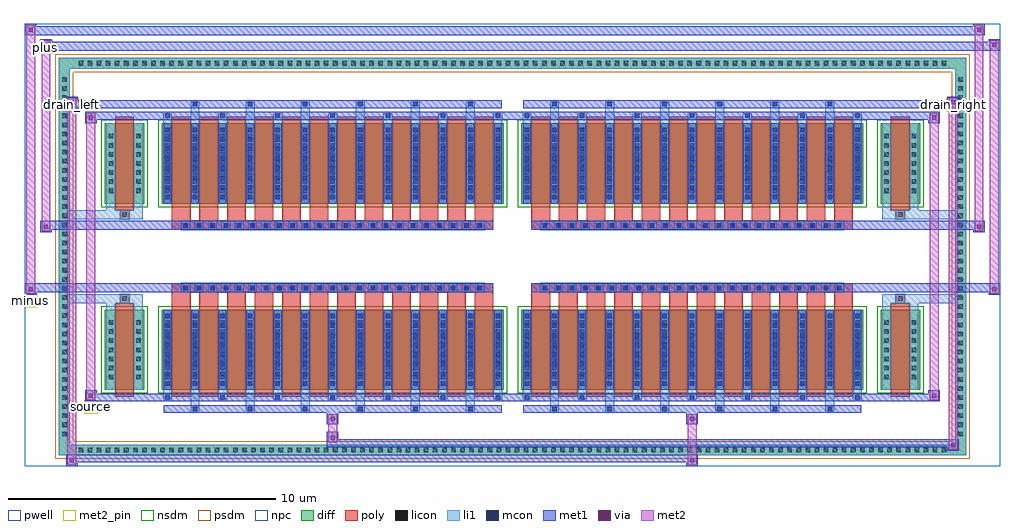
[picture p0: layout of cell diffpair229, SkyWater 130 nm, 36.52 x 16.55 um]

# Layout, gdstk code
import gdstk
lib = gdstk.Library(unit=1e-6, precision=5e-09)
def R(c, l, rs):  # rectangles x0, y0, x1, y1
    for r in rs: c.add(gdstk.rectangle(r[:2], r[2:], *l))
def A(c, l, x, y, w, h, nx, ny, dx, dy):  # array of equal rectangles
    R(c, l, [(x+i*dx, y+j*dy, x+i*dx+w, y+j*dy+h) for i in range(nx) for j in range(ny)])
def P(c, l, *ps):  # polygons
    for p in ps: c.add(gdstk.Polygon(p, *l))
pwell = (64, 44)
diff = (65, 20)
poly = (66, 20)
licon = (66, 44)
li1 = (67, 20)
mcon = (67, 44)
met1 = (68, 20)
via = (68, 44)
met2_pin = (69, 16)
met2 = (69, 20)
nsdm = (93, 44)
psdm = (94, 20)
npc = (95, 20)

diffpair229 = lib.new_cell('diffpair229')
R(diffpair229, pwell, [(-18.24,-7.84,18.24,8.71), (-15.56,-6.03,-0.01,-0.805), (0.01,-6.03,15.56,-0.805), (-15.56,0.805,-0.01,6.03), (0.01,0.805,15.56,6.03)])
A(diffpair229, diff, -16.355, -7.44, 0.41, 0.41, 96, 2, 0.34, 14.47)
A(diffpair229, diff, -16.97, -6.835, 0.41, 0.41, 1, 40, 0, 0.34)
A(diffpair229, diff, 16.56, -6.835, 0.41, 0.41, 1, 40, 0, 0.34)
R(diffpair229, diff, [(-16.355,-7.44,16.355,-7.03), (-16.97,-6.835,-16.56,6.835), (16.56,-6.835,16.97,6.835), (-15.25,-4.985,-13.77,-1.985), (-13.13,-4.985,-0.32,-1.985), (0.32,-4.985,13.13,-1.985), (13.77,-4.985,15.25,-1.985), (-15.25,1.985,-13.77,4.985), (-13.13,1.985,-0.32,4.985), (0.32,1.985,13.13,4.985), (13.77,1.985,15.25,4.985), (-16.355,7.03,16.355,7.44)])
P(diffpair229, diff, [(16.97,7.44),(-16.97,7.44),(-16.97,-7.03),(-16.56,-7.03),(-16.56,7.03),(16.56,7.03),(16.56,-7.03),(-16.56,-7.03),(-16.97,-7.03),(-16.97,-7.44),(16.97,-7.44)])
A(diffpair229, poly, -12.74, -5.235, 0.7, 3.5, 12, 2, 1.03, 6.97)
A(diffpair229, poly, 0.71, -5.235, 0.7, 3.5, 12, 2, 1.03, 6.97)
A(diffpair229, poly, -12.74, -1.735, 0.7, 0.4, 12, 2, 1.03, 3.07)
A(diffpair229, poly, 0.71, -1.735, 0.7, 0.4, 12, 2, 1.03, 3.07)
A(diffpair229, poly, -12.39, -1.335, 0.33, 0.33, 23, 2, 0.5, 2.34)
A(diffpair229, poly, 1.06, -1.335, 0.33, 0.33, 23, 2, 0.5, 2.34)
R(diffpair229, poly, [(-14.86,-5.235,-14.16,-1.735), (14.16,-5.235,14.86,-1.735), (-14.675,-1.735,-14.345,-1.405), (-14.675,-1.735,-14.345,-1.405), (14.345,-1.735,14.675,-1.405), (14.345,-1.735,14.675,-1.405), (-12.74,-1.335,-0.71,-1.005), (0.71,-1.335,12.74,-1.005), (-12.74,1.005,-0.71,1.335), (0.71,1.005,12.74,1.335), (-14.675,1.405,-14.345,1.735), (-14.675,1.405,-14.345,1.735), (14.345,1.405,14.675,1.735), (14.345,1.405,14.675,1.735), (-14.86,1.735,-14.16,5.235), (14.16,1.735,14.86,5.235)])
A(diffpair229, licon, -16.235, -7.32, 0.17, 0.17, 96, 2, 0.34, 14.47)
A(diffpair229, licon, -16.85, -6.715, 0.17, 0.17, 1, 40, 0, 0.34)
A(diffpair229, licon, 16.68, -6.715, 0.17, 0.17, 1, 40, 0, 0.34)
A(diffpair229, licon, -15.11, -4.59, 0.17, 0.17, 1, 7, 0, 0.34)
A(diffpair229, licon, -14.08, -4.59, 0.17, 0.17, 1, 7, 0, 0.34)
A(diffpair229, licon, -12.99, -4.59, 0.17, 0.17, 13, 7, 1.03, 0.34)
A(diffpair229, licon, 0.46, -4.59, 0.17, 0.17, 13, 7, 1.03, 0.34)
A(diffpair229, licon, 13.91, -4.59, 0.17, 0.17, 1, 7, 0, 0.34)
A(diffpair229, licon, 14.94, -4.59, 0.17, 0.17, 1, 7, 0, 0.34)
A(diffpair229, licon, -12.31, -1.255, 0.17, 0.17, 23, 2, 0.5, 2.34)
A(diffpair229, licon, 1.14, -1.255, 0.17, 0.17, 23, 2, 0.5, 2.34)
A(diffpair229, licon, -15.11, 2.38, 0.17, 0.17, 1, 7, 0, 0.34)
A(diffpair229, licon, -14.08, 2.38, 0.17, 0.17, 1, 7, 0, 0.34)
A(diffpair229, licon, -12.99, 2.38, 0.17, 0.17, 13, 7, 1.03, 0.34)
A(diffpair229, licon, 0.46, 2.38, 0.17, 0.17, 13, 7, 1.03, 0.34)
A(diffpair229, licon, 13.91, 2.38, 0.17, 0.17, 1, 7, 0, 0.34)
A(diffpair229, licon, 14.94, 2.38, 0.17, 0.17, 1, 7, 0, 0.34)
R(diffpair229, licon, [(-14.595,-1.655,-14.425,-1.485), (14.425,-1.655,14.595,-1.485), (-14.595,1.485,-14.425,1.655), (14.425,1.485,14.595,1.655)])
A(diffpair229, li1, -16.315, -7.4, 0.33, 0.33, 96, 2, 0.34, 14.47)
A(diffpair229, li1, -16.93, -6.795, 0.33, 0.33, 1, 40, 0, 0.34)
A(diffpair229, li1, 16.6, -6.795, 0.33, 0.33, 1, 40, 0, 0.34)
A(diffpair229, li1, -12.04, -5.79, 0.33, 0.805, 6, 2, 2.06, 10.775)
A(diffpair229, li1, -11.96, -5.79, 0.17, 0.17, 6, 2, 2.06, 11.41)
A(diffpair229, li1, 1.41, -5.79, 0.33, 0.805, 6, 2, 2.06, 10.775)
A(diffpair229, li1, 1.49, -5.79, 0.17, 0.17, 6, 2, 2.06, 11.41)
A(diffpair229, li1, -13.07, -5.36, 0.33, 0.375, 7, 2, 2.06, 10.345)
A(diffpair229, li1, -12.99, -5.36, 0.17, 0.17, 7, 2, 2.06, 10.55)
A(diffpair229, li1, 0.38, -5.36, 0.33, 0.375, 7, 2, 2.06, 10.345)
A(diffpair229, li1, 0.46, -5.36, 0.17, 0.17, 7, 2, 2.06, 10.55)
A(diffpair229, li1, -13.07, -4.985, 0.33, 3, 13, 2, 1.03, 6.97)
A(diffpair229, li1, 0.38, -4.985, 0.33, 3, 13, 2, 1.03, 6.97)
A(diffpair229, li1, -12.99, -4.83, 0.17, 0.17, 13, 8, 1.03, 0.36)
A(diffpair229, li1, -12.99, -4.83, 0.17, 2.69, 13, 2, 1.03, 6.97)
A(diffpair229, li1, 0.46, -4.83, 0.17, 0.17, 13, 8, 1.03, 0.36)
A(diffpair229, li1, 0.46, -4.83, 0.17, 2.69, 13, 2, 1.03, 6.97)
A(diffpair229, li1, -15.19, -4.67, 0.33, 0.33, 1, 7, 0, 0.34)
A(diffpair229, li1, -14.16, -4.67, 0.33, 0.33, 1, 7, 0, 0.34)
A(diffpair229, li1, -13.07, -4.67, 0.33, 0.33, 13, 7, 1.03, 0.34)
A(diffpair229, li1, 0.38, -4.67, 0.33, 0.33, 13, 7, 1.03, 0.34)
A(diffpair229, li1, 13.83, -4.67, 0.33, 0.33, 1, 7, 0, 0.34)
A(diffpair229, li1, 14.86, -4.67, 0.33, 0.33, 1, 7, 0, 0.34)
A(diffpair229, li1, -12.39, -1.335, 0.33, 0.33, 23, 2, 0.5, 2.34)
A(diffpair229, li1, 1.06, -1.335, 0.33, 0.33, 23, 2, 0.5, 2.34)
A(diffpair229, li1, -12.99, 2.14, 0.17, 0.17, 13, 8, 1.03, 0.36)
A(diffpair229, li1, 0.46, 2.14, 0.17, 0.17, 13, 8, 1.03, 0.36)
A(diffpair229, li1, -15.19, 2.3, 0.33, 0.33, 1, 7, 0, 0.34)
A(diffpair229, li1, -14.16, 2.3, 0.33, 0.33, 1, 7, 0, 0.34)
A(diffpair229, li1, -13.07, 2.3, 0.33, 0.33, 13, 7, 1.03, 0.34)
A(diffpair229, li1, 0.38, 2.3, 0.33, 0.33, 13, 7, 1.03, 0.34)
A(diffpair229, li1, 13.83, 2.3, 0.33, 0.33, 1, 7, 0, 0.34)
A(diffpair229, li1, 14.86, 2.3, 0.33, 0.33, 1, 7, 0, 0.34)
R(diffpair229, li1, [(-16.97,-7.44,-16.56,-7.03), (-16.97,-7.44,-16.56,-7.03), (-16.56,-7.44,16.56,-7.03), (16.56,-7.44,16.97,-7.03), (16.56,-7.44,16.97,-7.03), (-16.97,-7.03,-16.56,7.03), (16.56,-7.03,16.97,7.03), (-15.19,-4.985,-14.86,-1.985), (-14.16,-4.985,-13.83,-1.985), (13.83,-4.985,14.16,-1.985), (14.86,-4.985,15.19,-1.985), (-15.19,-1.985,-14.86,-1.405), (-14.16,-1.985,-13.83,-1.405), (13.83,-1.985,14.16,-1.405), (14.86,-1.985,15.19,-1.405), (-16.97,-1.735,-14.675,-1.405), (-15.19,-1.735,-14.675,-1.405), (-14.675,-1.735,-14.345,-1.405), (-14.345,-1.735,-13.83,-1.405), (13.83,-1.735,14.345,-1.405), (14.345,-1.735,14.675,-1.405), (14.345,-1.735,16.97,-1.405), (14.675,-1.735,15.19,-1.405), (-16.97,1.405,-14.675,1.735), (-15.19,1.405,-14.675,1.735), (-15.19,1.405,-14.86,1.985), (-14.675,1.405,-14.345,1.735), (-14.345,1.405,-13.83,1.735), (-14.16,1.405,-13.83,1.985), (13.83,1.405,14.345,1.735), (13.83,1.405,14.16,1.985), (14.345,1.405,14.675,1.735), (14.345,1.405,16.97,1.735), (14.675,1.405,15.19,1.735), (14.86,1.405,15.19,1.985), (-15.19,1.985,-14.86,4.985), (-14.16,1.985,-13.83,4.985), (13.83,1.985,14.16,4.985), (14.86,1.985,15.19,4.985), (-16.97,7.03,-16.56,7.44), (-16.97,7.03,-16.56,7.44), (-16.56,7.03,16.56,7.44), (16.56,7.03,16.97,7.44), (16.56,7.03,16.97,7.44)])
A(diffpair229, mcon, -11.96, -5.79, 0.17, 0.17, 6, 2, 2.06, 11.41)
A(diffpair229, mcon, 1.49, -5.79, 0.17, 0.17, 6, 2, 2.06, 11.41)
A(diffpair229, mcon, -12.99, -5.36, 0.17, 0.17, 7, 2, 2.06, 10.55)
A(diffpair229, mcon, 0.46, -5.36, 0.17, 0.17, 7, 2, 2.06, 10.55)
A(diffpair229, mcon, -12.99, -4.83, 0.17, 0.17, 13, 8, 1.03, 0.36)
A(diffpair229, mcon, 0.46, -4.83, 0.17, 0.17, 13, 8, 1.03, 0.36)
A(diffpair229, mcon, -12.31, -1.255, 0.17, 0.17, 23, 2, 0.5, 2.34)
A(diffpair229, mcon, 1.14, -1.255, 0.17, 0.17, 23, 2, 0.5, 2.34)
A(diffpair229, mcon, -12.99, 2.14, 0.17, 0.17, 13, 8, 1.03, 0.36)
A(diffpair229, mcon, 0.46, 2.14, 0.17, 0.17, 13, 8, 1.03, 0.36)
A(diffpair229, met1, -12.02, -5.85, 0.29, 0.29, 6, 2, 2.06, 11.41)
A(diffpair229, met1, 1.43, -5.85, 0.29, 0.29, 6, 2, 2.06, 11.41)
A(diffpair229, met1, -13.05, -5.42, 0.29, 0.29, 7, 2, 2.06, 10.55)
A(diffpair229, met1, 0.4, -5.42, 0.29, 0.29, 7, 2, 2.06, 10.55)
A(diffpair229, met1, -13.05, -4.985, 0.29, 3, 13, 2, 1.03, 6.97)
A(diffpair229, met1, 0.4, -4.985, 0.29, 3, 13, 2, 1.03, 6.97)
A(diffpair229, met1, -13.05, -4.89, 0.29, 0.29, 13, 8, 1.03, 0.36)
A(diffpair229, met1, 0.4, -4.89, 0.29, 0.29, 13, 8, 1.03, 0.36)
A(diffpair229, met1, -12.37, -1.315, 0.29, 0.29, 23, 2, 0.5, 2.34)
A(diffpair229, met1, 1.08, -1.315, 0.29, 0.29, 23, 2, 0.5, 2.34)
A(diffpair229, met1, -13.05, 2.08, 0.29, 0.29, 13, 8, 1.03, 0.36)
A(diffpair229, met1, 0.4, 2.08, 0.29, 0.29, 13, 8, 1.03, 0.36)
R(diffpair229, met1, [(-16.7,-7.84,-16.27,-7.41), (6.51,-7.84,6.94,-7.41), (-16.7,-7.7,6.94,-7.41), (16.27,-7.27,16.7,-6.84), (-6.94,-7.13,16.7,-6.84), (-6.94,-6.99,-6.51,-6.56), (-6.94,-6.28,-6.51,-5.85), (6.51,-6.28,6.94,-5.85), (-13.05,-5.85,-0.4,-5.56), (0.4,-5.85,13.05,-5.56), (-15.99,-5.42,-15.56,-4.99), (-15.99,-5.42,-13.05,-5.13), (-13.05,-5.42,-0.4,-5.13), (-0.4,-5.42,0.4,-5.13), (0.4,-5.42,13.05,-5.13), (13.05,-5.42,15.99,-5.13), (15.56,-5.42,15.99,-4.99), (-18.24,-1.435,-17.81,-1.005), (17.81,-1.435,18.24,-1.005), (-18.24,-1.335,-0.71,-1.005), (-12.74,-1.335,-0.71,-1.005), (0.71,-1.335,12.74,-1.005), (0.71,-1.335,18.24,-1.005), (-17.67,0.905,-17.24,1.335), (17.24,0.905,17.67,1.335), (-17.67,1.005,-12.74,1.335), (-12.74,1.005,-0.71,1.335), (0.71,1.005,12.74,1.335), (12.74,1.005,17.67,1.335), (-15.99,4.99,-15.56,5.42), (15.56,4.99,15.99,5.42), (-15.99,5.13,-13.05,5.42), (-13.05,5.13,-0.4,5.42), (-0.4,5.13,0.4,5.42), (0.4,5.13,13.05,5.42), (13.05,5.13,15.99,5.42), (-16.7,5.56,-16.27,5.99), (-16.7,5.56,-13.05,5.85), (-13.05,5.56,-0.4,5.85), (0.4,5.56,13.05,5.85), (13.05,5.56,16.7,5.85), (16.27,5.56,16.7,5.99), (-17.67,7.71,-17.24,8.14), (-17.67,7.71,-15.56,8.04), (-15.56,7.71,15.56,8.04), (15.56,7.71,18.24,8.04), (17.81,7.71,18.24,8.14), (-18.24,8.28,-17.81,8.71), (-18.24,8.28,-15.56,8.61), (-15.56,8.28,15.56,8.61), (15.56,8.28,17.67,8.61), (17.24,8.28,17.67,8.71)])
R(diffpair229, via, [(-16.56,-7.7,-16.41,-7.55), (6.65,-7.7,6.8,-7.55), (16.41,-7.13,16.56,-6.98), (-6.8,-6.85,-6.65,-6.7), (-6.8,-6.14,-6.65,-5.99), (6.65,-6.14,6.8,-5.99), (-15.85,-5.28,-15.7,-5.13), (15.7,-5.28,15.85,-5.13), (-18.1,-1.295,-17.95,-1.145), (17.95,-1.295,18.1,-1.145), (-17.53,1.045,-17.38,1.195), (17.38,1.045,17.53,1.195), (-15.85,5.13,-15.7,5.28), (15.7,5.13,15.85,5.28), (-16.56,5.7,-16.41,5.85), (16.41,5.7,16.56,5.85), (-17.53,7.85,-17.38,8), (17.95,7.85,18.1,8), (-18.1,8.42,-17.95,8.57), (17.38,8.42,17.53,8.57)])
R(diffpair229, met2_pin, [(-16.025,-5.87,-15.525,-5.37), (-18.275,-1.885,-17.775,-1.385), (-16.735,5.44,-16.235,5.94), (16.235,5.44,16.735,5.94), (-17.705,7.59,-17.205,8.09)])
R(diffpair229, met2, [(-16.65,-7.79,-16.32,-7.46), (-16.65,-7.79,-16.32,5.94), (6.56,-7.79,6.89,-7.46), (6.56,-7.46,6.89,-6.23), (16.32,-7.22,16.65,-6.89), (16.32,-7.22,16.65,5.94), (-6.89,-6.94,-6.56,-6.61), (-6.89,-6.61,-6.56,-6.23), (-6.89,-6.23,-6.56,-5.9), (6.56,-6.23,6.89,-5.9), (-15.94,-5.37,-15.61,-5.04), (-15.94,-5.37,-15.61,5.37), (15.61,-5.37,15.94,-5.04), (15.61,-5.37,15.94,5.37), (-18.19,-1.385,-17.86,-1.055), (-18.19,-1.385,-17.86,8.66), (17.86,-1.385,18.19,-1.055), (17.86,-1.385,18.19,8.09), (-17.62,0.955,-17.29,1.285), (-17.62,0.955,-17.29,8.09), (17.29,0.955,17.62,1.285), (17.29,0.955,17.62,8.66), (-15.94,5.04,-15.61,5.37), (15.61,5.04,15.94,5.37), (-16.65,5.61,-16.32,5.94), (16.32,5.61,16.65,5.94), (-17.62,7.76,-17.29,8.09), (17.86,7.76,18.19,8.09), (-18.19,8.33,-17.86,8.66), (17.29,8.33,17.62,8.66)])
P(diffpair229, met2, [(18.19,-1.385),(18.19,-1.385),(18.19,-1.055),(18.19,-1.055)],
  [(18.19,7.76),(18.19,7.76),(18.19,8.09),(18.19,8.09)],
  [(-17.86,-1.385),(-17.86,-1.385),(-17.86,-1.055),(-17.86,-1.055)],
  [(-17.86,8.33),(-17.86,8.33),(-17.86,8.66),(-17.86,8.66)],
  [(17.62,0.955),(17.62,0.955),(17.62,1.285),(17.62,1.285)],
  [(17.62,8.33),(17.62,8.33),(17.62,8.66),(17.62,8.66)],
  [(-17.29,0.955),(-17.29,0.955),(-17.29,1.285),(-17.29,1.285)],
  [(-17.29,7.76),(-17.29,7.76),(-17.29,8.09),(-17.29,8.09)],
  [(-16.32,-7.79),(-16.32,-7.79),(-16.32,-7.46),(-16.32,-7.46)],
  [(-16.32,5.61),(-16.32,5.61),(-16.32,5.94),(-16.32,5.94)],
  [(16.65,-7.22),(16.65,-7.22),(16.65,-6.89),(16.65,-6.89)],
  [(16.65,5.61),(16.65,5.61),(16.65,5.94),(16.65,5.94)],
  [(-15.61,-5.37),(-15.61,-5.37),(-15.61,-5.04),(-15.61,-5.04)],
  [(-15.61,5.04),(-15.61,5.04),(-15.61,5.37),(-15.61,5.37)],
  [(15.94,-5.37),(15.94,-5.37),(15.94,-5.04),(15.94,-5.04)],
  [(15.94,5.04),(15.94,5.04),(15.94,5.37),(15.94,5.37)])
R(diffpair229, nsdm, [(-15.38,-5.115,-13.64,-1.855), (-13.26,-5.115,-0.19,-1.855), (0.19,-5.115,13.26,-1.855), (13.64,-5.115,15.38,-1.855), (-15.38,1.855,-13.64,5.115), (-13.26,1.855,-0.19,5.115), (0.19,1.855,13.26,5.115), (13.64,1.855,15.38,5.115)])
P(diffpair229, psdm, [(17.1,7.57),(-17.1,7.57),(-17.1,-6.9),(-16.43,-6.9),(-16.43,6.9),(16.43,6.9),(16.43,-6.9),(-16.43,-6.9),(-17.1,-6.9),(-17.1,-7.57),(17.1,-7.57)])
A(diffpair229, npc, -12.41, -1.355, 0.37, 0.37, 23, 2, 0.5, 2.34)
A(diffpair229, npc, 1.04, -1.355, 0.37, 0.37, 23, 2, 0.5, 2.34)
R(diffpair229, npc, [(-14.695,-1.755,-14.325,-1.385), (14.325,-1.755,14.695,-1.385), (-12.41,-1.355,-11.54,-0.985), (-12.41,-1.355,-11.54,-0.985), (-11.91,-1.355,-11.04,-0.985), (-11.91,-1.355,-11.04,-0.985), (-11.41,-1.355,-10.54,-0.985), (-11.41,-1.355,-10.54,-0.985), (-10.91,-1.355,-10.04,-0.985), (-10.91,-1.355,-10.04,-0.985), (-10.41,-1.355,-9.54,-0.985), (-10.41,-1.355,-9.54,-0.985), (-9.91,-1.355,-9.04,-0.985), (-9.91,-1.355,-9.04,-0.985), (-9.41,-1.355,-8.54,-0.985), (-9.41,-1.355,-8.54,-0.985), (-8.91,-1.355,-8.04,-0.985), (-8.91,-1.355,-8.04,-0.985), (-8.41,-1.355,-7.54,-0.985), (-8.41,-1.355,-7.54,-0.985), (-7.91,-1.355,-7.04,-0.985), (-7.91,-1.355,-7.04,-0.985), (-7.41,-1.355,-6.54,-0.985), (-7.41,-1.355,-6.54,-0.985), (-6.91,-1.355,-6.04,-0.985), (-6.91,-1.355,-6.04,-0.985), (-6.41,-1.355,-5.54,-0.985), (-6.41,-1.355,-5.54,-0.985), (-5.91,-1.355,-5.04,-0.985), (-5.91,-1.355,-5.04,-0.985), (-5.41,-1.355,-4.54,-0.985), (-5.41,-1.355,-4.54,-0.985), (-4.91,-1.355,-4.04,-0.985), (-4.91,-1.355,-4.04,-0.985), (-4.41,-1.355,-3.54,-0.985), (-4.41,-1.355,-3.54,-0.985), (-3.91,-1.355,-3.04,-0.985), (-3.91,-1.355,-3.04,-0.985), (-3.41,-1.355,-2.54,-0.985), (-3.41,-1.355,-2.54,-0.985), (-2.91,-1.355,-2.04,-0.985), (-2.91,-1.355,-2.04,-0.985), (-2.41,-1.355,-1.54,-0.985), (-2.41,-1.355,-1.54,-0.985), (-1.91,-1.355,-1.04,-0.985), (-1.91,-1.355,-1.04,-0.985), (1.04,-1.355,1.91,-0.985), (1.04,-1.355,1.91,-0.985), (1.54,-1.355,2.41,-0.985), (1.54,-1.355,2.41,-0.985), (2.04,-1.355,2.91,-0.985), (2.04,-1.355,2.91,-0.985), (2.54,-1.355,3.41,-0.985), (2.54,-1.355,3.41,-0.985), (3.04,-1.355,3.91,-0.985), (3.04,-1.355,3.91,-0.985), (3.54,-1.355,4.41,-0.985), (3.54,-1.355,4.41,-0.985), (4.04,-1.355,4.91,-0.985), (4.04,-1.355,4.91,-0.985), (4.54,-1.355,5.41,-0.985), (4.54,-1.355,5.41,-0.985), (5.04,-1.355,5.91,-0.985), (5.04,-1.355,5.91,-0.985), (5.54,-1.355,6.41,-0.985), (5.54,-1.355,6.41,-0.985), (6.04,-1.355,6.91,-0.985), (6.04,-1.355,6.91,-0.985), (6.54,-1.355,7.41,-0.985), (6.54,-1.355,7.41,-0.985), (7.04,-1.355,7.91,-0.985), (7.04,-1.355,7.91,-0.985), (7.54,-1.355,8.41,-0.985), (7.54,-1.355,8.41,-0.985), (8.04,-1.355,8.91,-0.985), (8.04,-1.355,8.91,-0.985), (8.54,-1.355,9.41,-0.985), (8.54,-1.355,9.41,-0.985), (9.04,-1.355,9.91,-0.985), (9.04,-1.355,9.91,-0.985), (9.54,-1.355,10.41,-0.985), (9.54,-1.355,10.41,-0.985), (10.04,-1.355,10.91,-0.985), (10.04,-1.355,10.91,-0.985), (10.54,-1.355,11.41,-0.985), (10.54,-1.355,11.41,-0.985), (11.04,-1.355,11.91,-0.985), (11.04,-1.355,11.91,-0.985), (11.54,-1.355,12.41,-0.985), (11.54,-1.355,12.41,-0.985), (-12.41,0.985,-11.54,1.355), (-12.41,0.985,-11.54,1.355), (-11.91,0.985,-11.04,1.355), (-11.91,0.985,-11.04,1.355), (-11.41,0.985,-10.54,1.355), (-11.41,0.985,-10.54,1.355), (-10.91,0.985,-10.04,1.355), (-10.91,0.985,-10.04,1.355), (-10.41,0.985,-9.54,1.355), (-10.41,0.985,-9.54,1.355), (-9.91,0.985,-9.04,1.355), (-9.91,0.985,-9.04,1.355), (-9.41,0.985,-8.54,1.355), (-9.41,0.985,-8.54,1.355), (-8.91,0.985,-8.04,1.355), (-8.91,0.985,-8.04,1.355), (-8.41,0.985,-7.54,1.355), (-8.41,0.985,-7.54,1.355), (-7.91,0.985,-7.04,1.355), (-7.91,0.985,-7.04,1.355), (-7.41,0.985,-6.54,1.355), (-7.41,0.985,-6.54,1.355), (-6.91,0.985,-6.04,1.355), (-6.91,0.985,-6.04,1.355), (-6.41,0.985,-5.54,1.355), (-6.41,0.985,-5.54,1.355), (-5.91,0.985,-5.04,1.355), (-5.91,0.985,-5.04,1.355), (-5.41,0.985,-4.54,1.355), (-5.41,0.985,-4.54,1.355), (-4.91,0.985,-4.04,1.355), (-4.91,0.985,-4.04,1.355), (-4.41,0.985,-3.54,1.355), (-4.41,0.985,-3.54,1.355), (-3.91,0.985,-3.04,1.355), (-3.91,0.985,-3.04,1.355), (-3.41,0.985,-2.54,1.355), (-3.41,0.985,-2.54,1.355), (-2.91,0.985,-2.04,1.355), (-2.91,0.985,-2.04,1.355), (-2.41,0.985,-1.54,1.355), (-2.41,0.985,-1.54,1.355), (-1.91,0.985,-1.04,1.355), (-1.91,0.985,-1.04,1.355), (1.04,0.985,1.91,1.355), (1.04,0.985,1.91,1.355), (1.54,0.985,2.41,1.355), (1.54,0.985,2.41,1.355), (2.04,0.985,2.91,1.355), (2.04,0.985,2.91,1.355), (2.54,0.985,3.41,1.355), (2.54,0.985,3.41,1.355), (3.04,0.985,3.91,1.355), (3.04,0.985,3.91,1.355), (3.54,0.985,4.41,1.355), (3.54,0.985,4.41,1.355), (4.04,0.985,4.91,1.355), (4.04,0.985,4.91,1.355), (4.54,0.985,5.41,1.355), (4.54,0.985,5.41,1.355), (5.04,0.985,5.91,1.355), (5.04,0.985,5.91,1.355), (5.54,0.985,6.41,1.355), (5.54,0.985,6.41,1.355), (6.04,0.985,6.91,1.355), (6.04,0.985,6.91,1.355), (6.54,0.985,7.41,1.355), (6.54,0.985,7.41,1.355), (7.04,0.985,7.91,1.355), (7.04,0.985,7.91,1.355), (7.54,0.985,8.41,1.355), (7.54,0.985,8.41,1.355), (8.04,0.985,8.91,1.355), (8.04,0.985,8.91,1.355), (8.54,0.985,9.41,1.355), (8.54,0.985,9.41,1.355), (9.04,0.985,9.91,1.355), (9.04,0.985,9.91,1.355), (9.54,0.985,10.41,1.355), (9.54,0.985,10.41,1.355), (10.04,0.985,10.91,1.355), (10.04,0.985,10.91,1.355), (10.54,0.985,11.41,1.355), (10.54,0.985,11.41,1.355), (11.04,0.985,11.91,1.355), (11.04,0.985,11.91,1.355), (11.54,0.985,12.41,1.355), (11.54,0.985,12.41,1.355), (-14.695,1.385,-14.325,1.755), (14.325,1.385,14.695,1.755)])
diffpair229.add(gdstk.Label('minus', (-18.025,-1.635), layer=69, texttype=5))
diffpair229.add(gdstk.Label('drain_right', (16.485,5.69), layer=69, texttype=5))
diffpair229.add(gdstk.Label('drain_left', (-16.485,5.69), layer=69, texttype=5))
diffpair229.add(gdstk.Label('source', (-15.775,-5.62), layer=69, texttype=5))
diffpair229.add(gdstk.Label('plus', (-17.455,7.84), layer=69, texttype=5))

lib.write_gds('diffpair229.gds')
